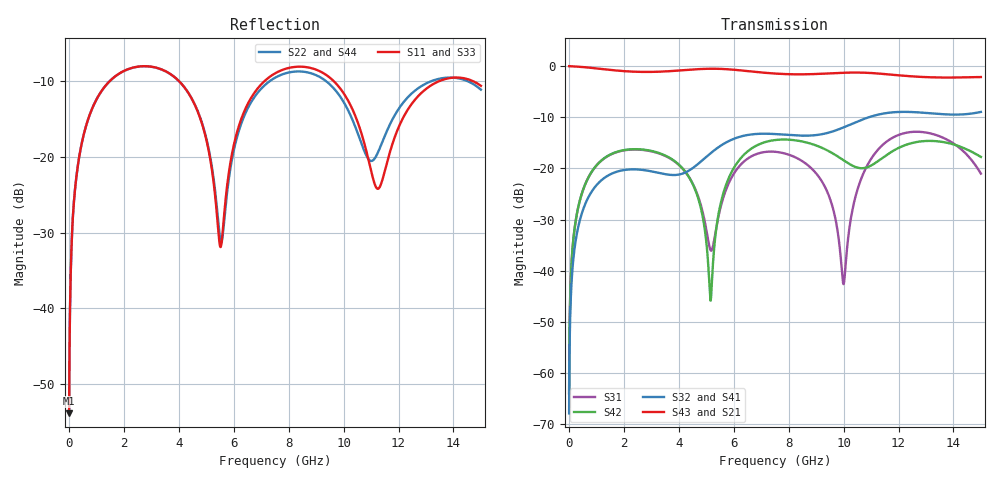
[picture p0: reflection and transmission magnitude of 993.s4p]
! Created with skrf 1.8.0 (http://scikit-rf.org).
# GHz S RI R 50.0
!freq ReS11 ImS11 ReS12 ImS12 ReS13 ImS13
! ReS14 ImS14
! ReS21 ImS21 ReS22 ImS22 ReS23 ImS23
! ReS24 ImS24
! ReS31 ImS31 ReS32 ImS32 ReS33 ImS33
! ReS34 ImS34
! ReS41 ImS41 ReS42 ImS42 ReS43 ImS43
! ReS44 ImS44
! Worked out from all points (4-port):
!   2499 points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, 5 MHz to 15 GHz, reference 50 ohm
!   strongest paths, dB at 5 MHz, 3.476 GHz, 7.19 GHz, 11.1 GHz, 15 GHz:
!     S43: 0.0, -1.0, -1.3, -1.4, -2.1
!     S21: 0.0, -1.0, -1.3, -1.4, -2.1
!     S32: -67.9, -21.1, -13.2, -9.7, -9.0
!     S41: -67.9, -21.1, -13.2, -9.7, -9.0
!     S42: -63.9, -17.4, -14.8, -19.1, -17.7
!     S31: -63.9, -17.5, -16.7, -17.4, -21.0
!   lowest |S11| = -53.8 dB at 5 MHz (marker M1), VSWR 1.00, Z = 50.2 + j0.124 ohm
!   |S11| at or under -10 dB: start of sweep to 1.496 GHz; 3.994 GHz to 7.134 GHz (3.14 GHz wide, 56.4 % of centre); 9.628 GHz to 13.51 GHz (3.885 GHz wide, 33.6 % of centre) (the widest 3 of 4)
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0.005  0.00162 0.00124  0.9983 -0.00316  8.1e-05 0.00063  -7.88e-05 -0.000397
       0.9983 -0.00316  0.00162 0.00124  -7.88e-05 -0.000397  8.1e-05 0.00063
       8.1e-05 0.00063  -7.88e-05 -0.000397  0.00162 0.00124  0.9983 -0.00316
       -7.88e-05 -0.000397  8.1e-05 0.00063  0.9983 -0.00316  0.00162 0.00124
0.3126303  0.0236 0.0814  0.9678 -0.1967  0.0105 0.0375  -0.00886 -0.0234
           0.9678 -0.1967  0.0236 0.0814  -0.00887 -0.0234  0.0107 0.0375
           0.0105 0.0375  -0.00887 -0.0234  0.0236 0.0814  0.9678 -0.1967
           -0.00886 -0.0234  0.0107 0.0375  0.9678 -0.1967  0.0236 0.0814
1.569404  0.2717 0.1791  0.5484 -0.7307  0.1245 0.0612  -0.089 -0.00618
          0.5484 -0.7307  0.2708 0.1798  -0.0891 -0.00608  0.1266 0.0585
          0.1245 0.0612  -0.0891 -0.00608  0.2716 0.1792  0.5484 -0.7307
          -0.089 -0.00618  0.1266 0.0585  0.5484 -0.7307  0.2709 0.1797
5.158399  0.0421 -0.0829  -0.9023 -0.2711  -0.0153 -0.00434  -0.0371 0.1359
          -0.9023 -0.2711  0.045 -0.0851  -0.0353 0.1364  0.0051 -9.46e-05
          -0.0153 -0.00434  -0.0353 0.1364  0.0429 -0.0823  -0.9024 -0.2712
          -0.0371 0.1359  0.0051 -9.46e-05  -0.9024 -0.2712  0.044 -0.085
8.584827  0.3875 -0.0466  0.0136 0.831  0.109 -0.0316  0.2013 -0.0533
          0.0136 0.831  0.3615 -0.019  0.2009 -0.0571  0.111 -0.1431
          0.109 -0.0316  0.2009 -0.0571  0.3857 -0.0481  0.0131 0.8315
          0.2013 -0.0533  0.111 -0.1431  0.0131 0.8315  0.3608 -0.0174
9.997916  0.1895 -0.1816  0.6051 0.6116  0.00655 0.00343  0.1756 -0.1801
          0.6051 0.6116  0.189 -0.1305  0.1719 -0.1839  -0.0736 -0.0952
          0.00655 0.00343  0.1719 -0.1839  0.1857 -0.1819  0.6054 0.6121
          0.1756 -0.1801  -0.0736 -0.0952  0.6054 0.6121  0.1891 -0.1273
15  0.2733 -0.1057  -0.2969 -0.7238  0.00212 -0.089  -0.3241 0.1475
    -0.2969 -0.7238  0.2585 -0.098  -0.3192 0.1591  -0.02 -0.1282
    0.00212 -0.089  -0.3192 0.1591  0.2755 -0.1029  -0.2939 -0.7245
    -0.3241 0.1475  -0.02 -0.1282  -0.2939 -0.7245  0.2603 -0.101
